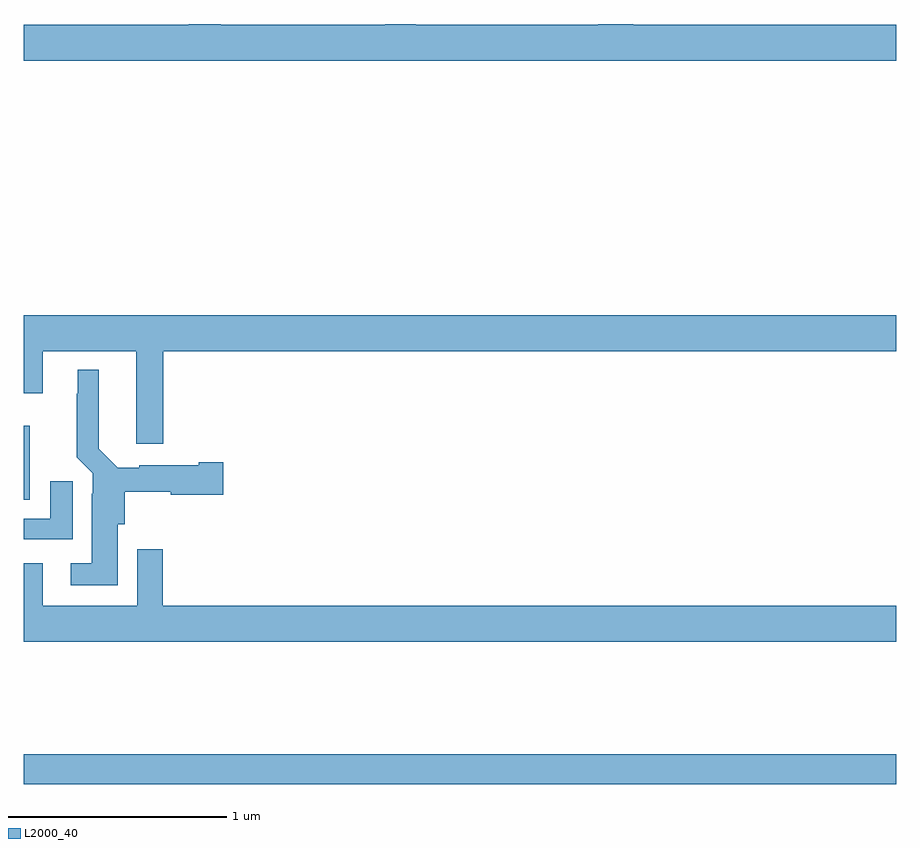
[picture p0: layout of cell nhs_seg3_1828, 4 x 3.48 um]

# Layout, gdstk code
import gdstk
lib = gdstk.Library(unit=1e-6, precision=1e-09)
def R(c, l, rs):  # rectangles x0, y0, x1, y1
    for r in rs: c.add(gdstk.rectangle(r[:2], r[2:], *l))
def P(c, l, *ps):  # polygons
    for p in ps: c.add(gdstk.Polygon(p, *l))
L2000_40 = (2000, 40)

nhs_seg3_1828 = lib.new_cell('nhs_seg3_1828')
R(nhs_seg3_1828, L2000_40, [(205,714.916,209,715.052), (205,716.218,205.027,716.559)])
P(nhs_seg3_1828, L2000_40, [(209,718.396),(207.794,718.396),(207.794,718.4),(207.634,718.4),(207.634,718.396),(206.797,718.396),(206.797,718.4),(206.657,718.4),(206.657,718.396),(205.903,718.396),(205.903,718.4),(205.756,718.4),(205.756,718.396),(205,718.396),(205,718.232),(209,718.232)],
  [(205.64,716.9),(209,716.9),(209,717.064),(205,717.064),(205,716.708),(205.087,716.708),(205.087,716.9),(205.517,716.9),(205.517,716.475),(205.64,716.475)],
  [(205.432,716.106),(205.463,716.106),(205.463,716.255),(205.674,716.255),(205.674,716.243),(205.915,716.243),(205.915,716.39),(205.802,716.39),(205.802,716.377),(205.53,716.377),(205.53,716.365),(205.431,716.365),(205.345,716.452),(205.345,716.815),(205.247,716.815),(205.247,716.705),(205.243,716.705),(205.243,716.414),(205.317,716.34),(205.317,716.246),(205.313,716.246),(205.313,715.927),(205.215,715.927),(205.215,715.826),(205.432,715.826)],
  [(205.225,716.305),(205.121,716.305),(205.121,716.133),(205,716.133),(205,716.037),(205.225,716.037)],
  [(209,715.732),(205.637,715.732),(205.637,715.993),(205.521,715.993),(205.521,715.732),(205.087,715.732),(205.087,715.927),(205,715.927),(205,715.568),(209,715.568)])

lib.write_gds('nhs_seg3_1828.gds')
